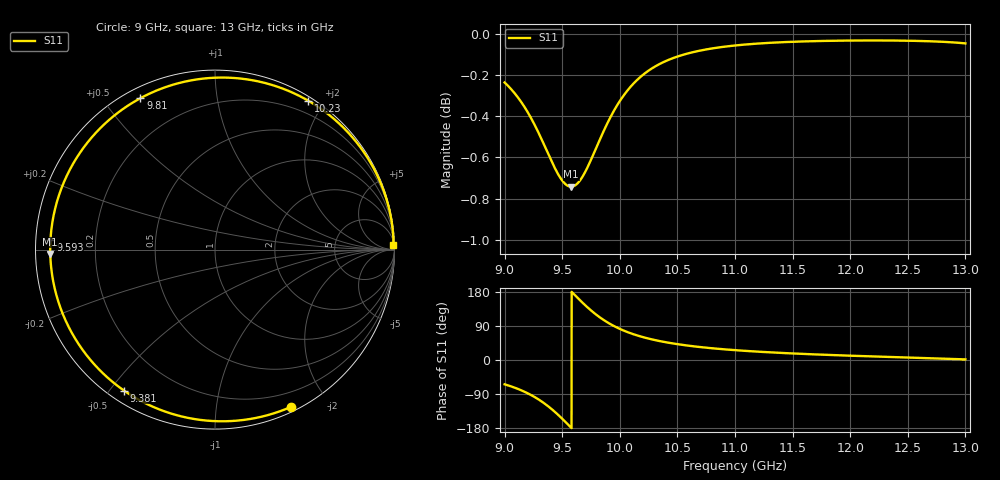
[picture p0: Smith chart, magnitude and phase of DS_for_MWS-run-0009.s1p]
! TOUCHSTONE file generated by CST DESIGN STUDIO
! Date and time: Wed Feb  5 13:30:15 2025
! Project name: C:\Work\MatlabApps\UnitCellOptimizationMatlab\CST\unitcell.cst
! Tree item: Tasks\Sweep1\SPara1\S-Parameters
! Header version: 2024
! Port assignment regex: !\s*Touchstone port\s*([0-9]+)\s*=\s*(CST MWS port|CST DES external port|CST DES block port)\s*(.+)\s* \(\"(.*)\"\)(\s*mode\s*([0-9]+))?.*
! Touchstone port assignment:
! Touchstone port 1 = CST DES external port 1 ("")
# GHz S MA R 50
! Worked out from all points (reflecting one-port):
!   4001 points, 9 GHz to 13 GHz, reference 50 ohm
!   lowest |S11| = -0.7 dB at 9.577 GHz (marker M1), VSWR 23.43, Z = 2.13 - j0.651 ohm
!   phase of S11 starts at -64 deg and turns -294 deg over the sweep
!   S11 on the Smith chart (normalised r, x): 9 GHz: 0.05, -1.59; 9.381 GHz: 0.04, -0.54; 9.593 GHz: 0.04, +0.03; 9.81 GHz: 0.04, +0.62; 10.23 GHz: 0.05, +1.80; 13 GHz: 13, +69
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9  0.9733 -64.1
9.047  0.9703 -68.7
9.115  0.9652 -76.2
9.232  0.9538 -92.8
9.311  0.9441 -107.3
9.381  0.9348 -122.8
9.44  0.9273 -137.9
9.5  0.9213 -155.0
9.539  0.9189 -166.7
9.577  0.9181 -178.5
9.593  0.9183 176.5
9.648  0.9208 159.6
9.709  0.9268 141.8
9.759  0.9333 128.5
9.81  0.9403 116.2
9.851  0.946 107.4
9.896  0.9518 98.7
10  0.9632 82.1
10.109  0.972 69.0
10.23  0.9788 58.0
10.355  0.9837 49.4
10.5  0.9875 41.8
10.72  0.9911 33.4
11  0.9936 26.0
11.5  0.9957 17.3
12  0.9964 11.4
12.5  0.9963 6.5
13  0.9948 1.6
